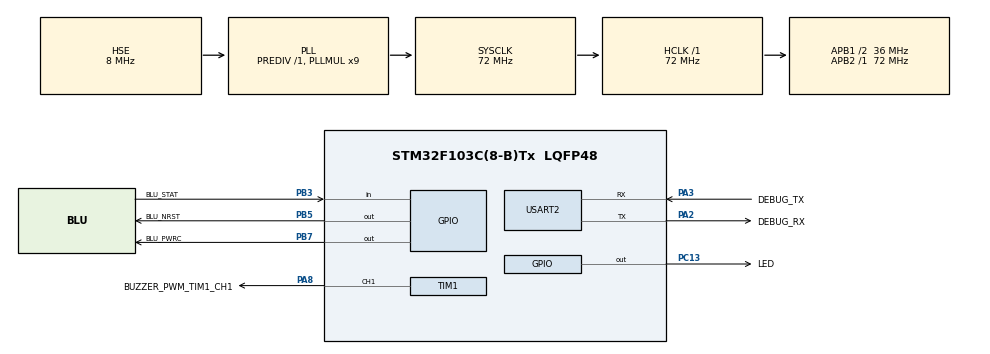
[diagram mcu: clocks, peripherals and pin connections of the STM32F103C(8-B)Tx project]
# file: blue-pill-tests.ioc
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Mcu.Family=STM32F1
Mcu.Name=STM32F103C(8-B)Tx
Mcu.Package=LQFP48
NVIC.PriorityGroup=NVIC_PRIORITYGROUP_4
NVIC.TIM2_IRQn=true\:0\:0\:false\:false\:true\:true\:true\:true
NVIC.USART2_IRQn=true\:0\:0\:false\:false\:true\:true\:true\:true
PA13.Mode=Serial_Wire
PA13.Signal=SYS_JTMS-SWDIO
PA14.Mode=Serial_Wire
PA14.Signal=SYS_JTCK-SWCLK
PA2.GPIO_Label=DEBUG_RX
PA2.Mode=Asynchronous
PA2.Signal=USART2_TX
PA3.GPIO_Label=DEBUG_TX
PA3.Mode=Asynchronous
PA3.Signal=USART2_RX
PA8.GPIO_Label=BUZZER_PWM_TIM1_CH1
PA8.Signal=S_TIM1_CH1
PB3.GPIO_Label=BLU_STAT
PB3.Signal=GPIO_Input
PB5.GPIO_Label=BLU_NRST
PB5.PinState=GPIO_PIN_SET
PB5.Signal=GPIO_Output
PB7.GPIO_Label=BLU_PWRC
PB7.PinState=GPIO_PIN_SET
PB7.Signal=GPIO_Output
PC13-TAMPER-RTC.GPIO_Label=LED
PC13-TAMPER-RTC.Signal=GPIO_Output
PD0-OSC_IN.Mode=HSE-External-Oscillator
PD0-OSC_IN.Signal=RCC_OSC_IN
PD1-OSC_OUT.Mode=HSE-External-Oscillator
PD1-OSC_OUT.Signal=RCC_OSC_OUT
ProjectManager.HeapSize=0x200
ProjectManager.StackSize=0x400
ProjectManager.TargetToolchain=STM32CubeIDE
RCC.AHBFreq_Value=72000000
RCC.APB1CLKDivider=RCC_HCLK_DIV2
RCC.APB1Freq_Value=36000000
RCC.APB1TimFreq_Value=72000000
RCC.APB2Freq_Value=72000000
RCC.APB2TimFreq_Value=72000000
RCC.EnbaleCSS=true
RCC.HCLKFreq_Value=72000000
RCC.PLLMUL=RCC_PLL_MUL9
RCC.PLLSourceVirtual=RCC_PLLSOURCE_HSE
RCC.SYSCLKFreq_VALUE=72000000
RCC.SYSCLKSource=RCC_SYSCLKSOURCE_PLLCLK
RCC.USBFreq_Value=72000000
SH.S_TIM1_CH1.0=TIM1_CH1,PWM Generation1 CH1
TIM1.Channel-PWM\ Generation1\ CH1=TIM_CHANNEL_1
TIM1.Period=255
TIM1.Prescaler=0
TIM1.Pulse-PWM\ Generation1\ CH1=0
TIM2.Period=10000
TIM2.Prescaler=7199
USART2.VirtualMode=VM_ASYNC
VP_TIM1_VS_ClockSourceINT.Mode=Internal
VP_TIM2_VS_ClockSourceINT.Mode=Internal
board=custom

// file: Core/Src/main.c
/* USER CODE BEGIN Header */
/**
 ******************************************************************************
 * @file           : main.c
 * @brief          : Main program body
 ******************************************************************************
 * @attention
 *
 * Copyright (c) 2023 STMicroelectronics.
 * All rights reserved.
 *
 * This software is licensed under terms that can be found in the LICENSE file
 * in the root directory of this software component.
 * If no LICENSE file comes with this software, it is provided AS-IS.
 *
 ******************************************************************************
 */
/* USER CODE END Header */
#include "main.h"

/* USER CODE BEGIN PD */
#define HCLK 72000000 // Internal clock 72 MHz
/* USER CODE END PD */

TIM_HandleTypeDef htim1;
TIM_HandleTypeDef htim2;

UART_HandleTypeDef huart2;

/* USER CODE BEGIN PV */
uint8_t rx_buff1[1] = {0};
uint8_t rx_buff2[1] = {0};
/* USER CODE END PV */

void SystemClock_Config(void);
static void MX_GPIO_Init(void);
static void MX_USART2_UART_Init(void);
static void MX_TIM2_Init(void);
static void MX_TIM1_Init(void);
/* USER CODE BEGIN PFP */
void buzzerPlayNote(uint16_t noteFreq, uint16_t noteDurationMs, uint8_t dutyCyclePrct);

/* USER CODE END PFP */

int main(void)
{

  /* MCU Configuration--------------------------------------------------------*/

  /* Reset of all peripherals, Initializes the Flash interface and the Systick. */
  HAL_Init();

  /* Configure the system clock */
  SystemClock_Config();

  /* Initialize all configured peripherals */
  MX_GPIO_Init();
  MX_USART2_UART_Init();
  MX_TIM2_Init();
  MX_TIM1_Init();
  /* USER CODE BEGIN 2 */

  HAL_UART_Receive_IT(&huart2, rx_buff2, 1); // DEBUG
  if (HAL_TIM_Base_Start_IT(&htim2) != HAL_OK)
  {
    /* Starting Error */
    Error_Handler();
  }

  // HAL_TIM_PWM_Start(&htim1, TIM_CHANNEL_1);

  /* USER CODE END 2 */

  /* Infinite loop */
  while (1)
  {

    /* USER CODE BEGIN 3 */
    // Test vary duty cycle
    buzzerPlayNote(261, 1000, 10); // C
    HAL_Delay(100);
    buzzerPlayNote(261, 1000, 50); // C
    HAL_Delay(100);
    buzzerPlayNote(261, 1000, 90); // C
    HAL_Delay(1000);
    // Test other notes
    buzzerPlayNote(293, 1000, 50); // D
    HAL_Delay(100);
    buzzerPlayNote(329, 1000, 50); // E
    HAL_Delay(1000);
  }
  /* USER CODE END 3 */
}

void SystemClock_Config(void)
{
  RCC_OscInitTypeDef RCC_OscInitStruct = {0};
  RCC_ClkInitTypeDef RCC_ClkInitStruct = {0};

  /** Initializes the RCC Oscillators according to the specified parameters
  * in the RCC_OscInitTypeDef structure.
  */
  RCC_OscInitStruct.OscillatorType = RCC_OSCILLATORTYPE_HSE;
  RCC_OscInitStruct.HSEState = RCC_HSE_ON;
  RCC_OscInitStruct.HSEPredivValue = RCC_HSE_PREDIV_DIV1;
  RCC_OscInitStruct.HSIState = RCC_HSI_ON;
  RCC_OscInitStruct.PLL.PLLState = RCC_PLL_ON;
  RCC_OscInitStruct.PLL.PLLSource = RCC_PLLSOURCE_HSE;
  RCC_OscInitStruct.PLL.PLLMUL = RCC_PLL_MUL9;
  if (HAL_RCC_OscConfig(&RCC_OscInitStruct) != HAL_OK)
  {
    Error_Handler();
  }

  /** Initializes the CPU, AHB and APB buses clocks
  */
  RCC_ClkInitStruct.ClockType = RCC_CLOCKTYPE_HCLK|RCC_CLOCKTYPE_SYSCLK
                              |RCC_CLOCKTYPE_PCLK1|RCC_CLOCKTYPE_PCLK2;
  RCC_ClkInitStruct.SYSCLKSource = RCC_SYSCLKSOURCE_PLLCLK;
  RCC_ClkInitStruct.AHBCLKDivider = RCC_SYSCLK_DIV1;
  RCC_ClkInitStruct.APB1CLKDivider = RCC_HCLK_DIV2;
  RCC_ClkInitStruct.APB2CLKDivider = RCC_HCLK_DIV1;

  if (HAL_RCC_ClockConfig(&RCC_ClkInitStruct, FLASH_LATENCY_2) != HAL_OK)
  {
    Error_Handler();
  }

  /** Enables the Clock Security System
  */
  HAL_RCC_EnableCSS();
}

static void MX_TIM1_Init(void)
{

  TIM_ClockConfigTypeDef sClockSourceConfig = {0};
  TIM_MasterConfigTypeDef sMasterConfig = {0};
  TIM_OC_InitTypeDef sConfigOC = {0};
  TIM_BreakDeadTimeConfigTypeDef sBreakDeadTimeConfig = {0};

  htim1.Instance = TIM1;
  htim1.Init.Prescaler = 0;
  htim1.Init.CounterMode = TIM_COUNTERMODE_UP;
  htim1.Init.Period = 255;
  htim1.Init.ClockDivision = TIM_CLOCKDIVISION_DIV1;
  htim1.Init.RepetitionCounter = 0;
  htim1.Init.AutoReloadPreload = TIM_AUTORELOAD_PRELOAD_DISABLE;
  if (HAL_TIM_Base_Init(&htim1) != HAL_OK)
  {
    Error_Handler();
  }
  sClockSourceConfig.ClockSource = TIM_CLOCKSOURCE_INTERNAL;
  if (HAL_TIM_ConfigClockSource(&htim1, &sClockSourceConfig) != HAL_OK)
  {
    Error_Handler();
  }
  if (HAL_TIM_PWM_Init(&htim1) != HAL_OK)
  {
    Error_Handler();
  }
  sMasterConfig.MasterOutputTrigger = TIM_TRGO_RESET;
  sMasterConfig.MasterSlaveMode = TIM_MASTERSLAVEMODE_DISABLE;
  if (HAL_TIMEx_MasterConfigSynchronization(&htim1, &sMasterConfig) != HAL_OK)
  {
    Error_Handler();
  }
  sConfigOC.OCMode = TIM_OCMODE_PWM1;
  sConfigOC.Pulse = 0;
  sConfigOC.OCPolarity = TIM_OCPOLARITY_HIGH;
  sConfigOC.OCNPolarity = TIM_OCNPOLARITY_HIGH;
  sConfigOC.OCFastMode = TIM_OCFAST_DISABLE;
  sConfigOC.OCIdleState = TIM_OCIDLESTATE_RESET;
  sConfigOC.OCNIdleState = TIM_OCNIDLESTATE_RESET;
  if (HAL_TIM_PWM_ConfigChannel(&htim1, &sConfigOC, TIM_CHANNEL_1) != HAL_OK)
  {
    Error_Handler();
  }
  sBreakDeadTimeConfig.OffStateRunMode = TIM_OSSR_DISABLE;
  sBreakDeadTimeConfig.OffStateIDLEMode = TIM_OSSI_DISABLE;
  sBreakDeadTimeConfig.LockLevel = TIM_LOCKLEVEL_OFF;
  sBreakDeadTimeConfig.DeadTime = 0;
  sBreakDeadTimeConfig.BreakState = TIM_BREAK_DISABLE;
  sBreakDeadTimeConfig.BreakPolarity = TIM_BREAKPOLARITY_HIGH;
  sBreakDeadTimeConfig.AutomaticOutput = TIM_AUTOMATICOUTPUT_DISABLE;
  if (HAL_TIMEx_ConfigBreakDeadTime(&htim1, &sBreakDeadTimeConfig) != HAL_OK)
  {
    Error_Handler();
  }
  HAL_TIM_MspPostInit(&htim1);

}

static void MX_TIM2_Init(void)
{

  TIM_ClockConfigTypeDef sClockSourceConfig = {0};
  TIM_MasterConfigTypeDef sMasterConfig = {0};

  htim2.Instance = TIM2;
  htim2.Init.Prescaler = 7199;
  htim2.Init.CounterMode = TIM_COUNTERMODE_UP;
  htim2.Init.Period = 10000;
  htim2.Init.ClockDivision = TIM_CLOCKDIVISION_DIV1;
  htim2.Init.AutoReloadPreload = TIM_AUTORELOAD_PRELOAD_DISABLE;
  if (HAL_TIM_Base_Init(&htim2) != HAL_OK)
  {
    Error_Handler();
  }
  sClockSourceConfig.ClockSource = TIM_CLOCKSOURCE_INTERNAL;
  if (HAL_TIM_ConfigClockSource(&htim2, &sClockSourceConfig) != HAL_OK)
  {
    Error_Handler();
  }
  sMasterConfig.MasterOutputTrigger = TIM_TRGO_RESET;
  sMasterConfig.MasterSlaveMode = TIM_MASTERSLAVEMODE_DISABLE;
  if (HAL_TIMEx_MasterConfigSynchronization(&htim2, &sMasterConfig) != HAL_OK)
  {
    Error_Handler();
  }

}

static void MX_USART2_UART_Init(void)
{

  huart2.Instance = USART2;
  huart2.Init.BaudRate = 115200;
  huart2.Init.WordLength = UART_WORDLENGTH_8B;
  huart2.Init.StopBits = UART_STOPBITS_1;
  huart2.Init.Parity = UART_PARITY_NONE;
  huart2.Init.Mode = UART_MODE_TX_RX;
  huart2.Init.HwFlowCtl = UART_HWCONTROL_NONE;
  huart2.Init.OverSampling = UART_OVERSAMPLING_16;
  if (HAL_UART_Init(&huart2) != HAL_OK)
  {
    Error_Handler();
  }

}

static void MX_GPIO_Init(void)
{
  GPIO_InitTypeDef GPIO_InitStruct = {0};

  /* GPIO Ports Clock Enable */
  __HAL_RCC_GPIOC_CLK_ENABLE();
  __HAL_RCC_GPIOD_CLK_ENABLE();
  __HAL_RCC_GPIOA_CLK_ENABLE();
  __HAL_RCC_GPIOB_CLK_ENABLE();

  /*Configure GPIO pin Output Level */
  HAL_GPIO_WritePin(LED_GPIO_Port, LED_Pin, GPIO_PIN_RESET);

  /*Configure GPIO pin Output Level */
  HAL_GPIO_WritePin(GPIOB, BLU_NRST_Pin|BLU_PWRC_Pin, GPIO_PIN_SET);

  /*Configure GPIO pin : LED_Pin */
  GPIO_InitStruct.Pin = LED_Pin;
  GPIO_InitStruct.Mode = GPIO_MODE_OUTPUT_PP;
  GPIO_InitStruct.Pull = GPIO_NOPULL;
  GPIO_InitStruct.Speed = GPIO_SPEED_FREQ_LOW;
  HAL_GPIO_Init(LED_GPIO_Port, &GPIO_InitStruct);

  /*Configure GPIO pin : BLU_STAT_Pin */
  GPIO_InitStruct.Pin = BLU_STAT_Pin;
  GPIO_InitStruct.Mode = GPIO_MODE_INPUT;
  GPIO_InitStruct.Pull = GPIO_NOPULL;
  HAL_GPIO_Init(BLU_STAT_GPIO_Port, &GPIO_InitStruct);

  /*Configure GPIO pins : BLU_NRST_Pin BLU_PWRC_Pin */
  GPIO_InitStruct.Pin = BLU_NRST_Pin|BLU_PWRC_Pin;
  GPIO_InitStruct.Mode = GPIO_MODE_OUTPUT_PP;
  GPIO_InitStruct.Pull = GPIO_NOPULL;
  GPIO_InitStruct.Speed = GPIO_SPEED_FREQ_LOW;
  HAL_GPIO_Init(GPIOB, &GPIO_InitStruct);

}

/* USER CODE BEGIN 4 */
void HAL_UART_RxCpltCallback(UART_HandleTypeDef *huart)
{
  if (huart->Instance == USART2)
  {
    // Send data received from DEBUG to DEBUG (echo)
    HAL_UART_Transmit(&huart2, rx_buff2, 1, HAL_MAX_DELAY);
    HAL_UART_Receive_IT(&huart2, rx_buff2, 1);
  }
}

void buzzerPlayNote(uint16_t noteFreq, uint16_t noteDurationMs, uint8_t dutyCyclePrct)
{
  // ARR period is set to 255 in CubeMX
  uint16_t prescaler = HCLK / ((255 + 1) * noteFreq) - 1;
  uint16_t ccr = 255 * dutyCyclePrct / 100; // we can optimize the code by directly transmistting uint8_t as parameter: 0 = 0% (disabled) , 255 = 100% (always on)
  TIM1->PSC = prescaler;
  TIM1->CCR1 = ccr;
  HAL_TIM_PWM_Start(&htim1, TIM_CHANNEL_1);
  HAL_Delay(noteDurationMs);
  HAL_TIM_PWM_Stop(&htim1, TIM_CHANNEL_1);
}
/* USER CODE END 4 */

void Error_Handler(void)
{
  __disable_irq();
  while (1)
  {
  }
}
